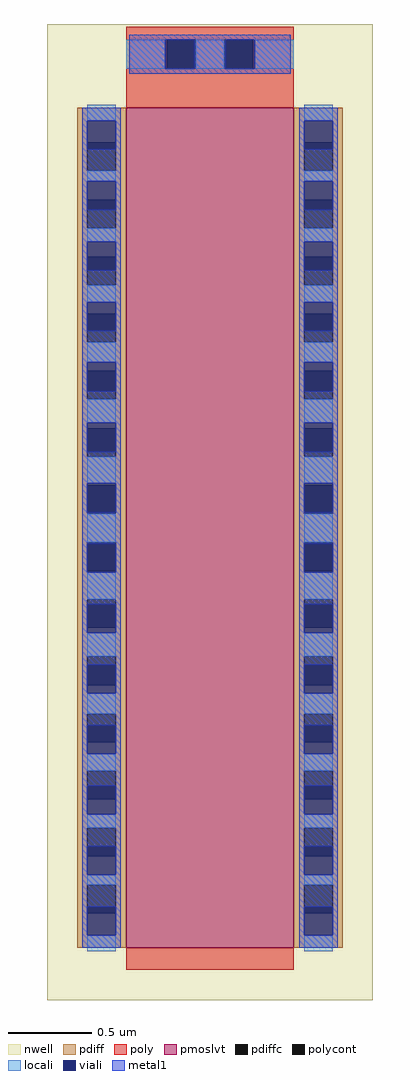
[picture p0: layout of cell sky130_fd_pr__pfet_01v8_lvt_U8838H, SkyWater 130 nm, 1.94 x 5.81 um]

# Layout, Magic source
magic
tech sky130A
magscale 1 2
<< nwell >>
rect -194 -598 194 564
<< pmoslvt >>
rect -100 -536 100 464
<< pdiff >>
rect -158 423 -100 464
rect -158 389 -146 423
rect -112 389 -100 423
rect -158 355 -100 389
rect -158 321 -146 355
rect -112 321 -100 355
rect -158 287 -100 321
rect -158 253 -146 287
rect -112 253 -100 287
rect -158 219 -100 253
rect -158 185 -146 219
rect -112 185 -100 219
rect -158 151 -100 185
rect -158 117 -146 151
rect -112 117 -100 151
rect -158 83 -100 117
rect -158 49 -146 83
rect -112 49 -100 83
rect -158 15 -100 49
rect -158 -19 -146 15
rect -112 -19 -100 15
rect -158 -53 -100 -19
rect -158 -87 -146 -53
rect -112 -87 -100 -53
rect -158 -121 -100 -87
rect -158 -155 -146 -121
rect -112 -155 -100 -121
rect -158 -189 -100 -155
rect -158 -223 -146 -189
rect -112 -223 -100 -189
rect -158 -257 -100 -223
rect -158 -291 -146 -257
rect -112 -291 -100 -257
rect -158 -325 -100 -291
rect -158 -359 -146 -325
rect -112 -359 -100 -325
rect -158 -393 -100 -359
rect -158 -427 -146 -393
rect -112 -427 -100 -393
rect -158 -461 -100 -427
rect -158 -495 -146 -461
rect -112 -495 -100 -461
rect -158 -536 -100 -495
rect 100 423 158 464
rect 100 389 112 423
rect 146 389 158 423
rect 100 355 158 389
rect 100 321 112 355
rect 146 321 158 355
rect 100 287 158 321
rect 100 253 112 287
rect 146 253 158 287
rect 100 219 158 253
rect 100 185 112 219
rect 146 185 158 219
rect 100 151 158 185
rect 100 117 112 151
rect 146 117 158 151
rect 100 83 158 117
rect 100 49 112 83
rect 146 49 158 83
rect 100 15 158 49
rect 100 -19 112 15
rect 146 -19 158 15
rect 100 -53 158 -19
rect 100 -87 112 -53
rect 146 -87 158 -53
rect 100 -121 158 -87
rect 100 -155 112 -121
rect 146 -155 158 -121
rect 100 -189 158 -155
rect 100 -223 112 -189
rect 146 -223 158 -189
rect 100 -257 158 -223
rect 100 -291 112 -257
rect 146 -291 158 -257
rect 100 -325 158 -291
rect 100 -359 112 -325
rect 146 -359 158 -325
rect 100 -393 158 -359
rect 100 -427 112 -393
rect 146 -427 158 -393
rect 100 -461 158 -427
rect 100 -495 112 -461
rect 146 -495 158 -461
rect 100 -536 158 -495
<< pdiffc >>
rect -146 389 -112 423
rect -146 321 -112 355
rect -146 253 -112 287
rect -146 185 -112 219
rect -146 117 -112 151
rect -146 49 -112 83
rect -146 -19 -112 15
rect -146 -87 -112 -53
rect -146 -155 -112 -121
rect -146 -223 -112 -189
rect -146 -291 -112 -257
rect -146 -359 -112 -325
rect -146 -427 -112 -393
rect -146 -495 -112 -461
rect 112 389 146 423
rect 112 321 146 355
rect 112 253 146 287
rect 112 185 146 219
rect 112 117 146 151
rect 112 49 146 83
rect 112 -19 146 15
rect 112 -87 146 -53
rect 112 -155 146 -121
rect 112 -223 146 -189
rect 112 -291 146 -257
rect 112 -359 146 -325
rect 112 -427 146 -393
rect 112 -495 146 -461
<< poly >>
rect -100 545 100 561
rect -100 511 -51 545
rect -17 511 17 545
rect 51 511 100 545
rect -100 464 100 511
rect -100 -562 100 -536
<< polycont >>
rect -51 511 -17 545
rect 17 511 51 545
<< locali >>
rect -100 511 -53 545
rect -17 511 17 545
rect 53 511 100 545
rect -146 449 -112 468
rect -146 377 -112 389
rect -146 305 -112 321
rect -146 233 -112 253
rect -146 161 -112 185
rect -146 89 -112 117
rect -146 17 -112 49
rect -146 -53 -112 -19
rect -146 -121 -112 -89
rect -146 -189 -112 -161
rect -146 -257 -112 -233
rect -146 -325 -112 -305
rect -146 -393 -112 -377
rect -146 -461 -112 -449
rect -146 -540 -112 -521
rect 112 449 146 468
rect 112 377 146 389
rect 112 305 146 321
rect 112 233 146 253
rect 112 161 146 185
rect 112 89 146 117
rect 112 17 146 49
rect 112 -53 146 -19
rect 112 -121 146 -89
rect 112 -189 146 -161
rect 112 -257 146 -233
rect 112 -325 146 -305
rect 112 -393 146 -377
rect 112 -461 146 -449
rect 112 -540 146 -521
<< viali >>
rect -53 511 -51 545
rect -51 511 -19 545
rect 19 511 51 545
rect 51 511 53 545
rect -146 423 -112 449
rect -146 415 -112 423
rect -146 355 -112 377
rect -146 343 -112 355
rect -146 287 -112 305
rect -146 271 -112 287
rect -146 219 -112 233
rect -146 199 -112 219
rect -146 151 -112 161
rect -146 127 -112 151
rect -146 83 -112 89
rect -146 55 -112 83
rect -146 15 -112 17
rect -146 -17 -112 15
rect -146 -87 -112 -55
rect -146 -89 -112 -87
rect -146 -155 -112 -127
rect -146 -161 -112 -155
rect -146 -223 -112 -199
rect -146 -233 -112 -223
rect -146 -291 -112 -271
rect -146 -305 -112 -291
rect -146 -359 -112 -343
rect -146 -377 -112 -359
rect -146 -427 -112 -415
rect -146 -449 -112 -427
rect -146 -495 -112 -487
rect -146 -521 -112 -495
rect 112 423 146 449
rect 112 415 146 423
rect 112 355 146 377
rect 112 343 146 355
rect 112 287 146 305
rect 112 271 146 287
rect 112 219 146 233
rect 112 199 146 219
rect 112 151 146 161
rect 112 127 146 151
rect 112 83 146 89
rect 112 55 146 83
rect 112 15 146 17
rect 112 -17 146 15
rect 112 -87 146 -55
rect 112 -89 146 -87
rect 112 -155 146 -127
rect 112 -161 146 -155
rect 112 -223 146 -199
rect 112 -233 146 -223
rect 112 -291 146 -271
rect 112 -305 146 -291
rect 112 -359 146 -343
rect 112 -377 146 -359
rect 112 -427 146 -415
rect 112 -449 146 -427
rect 112 -495 146 -487
rect 112 -521 146 -495
<< metal1 >>
rect -96 545 96 551
rect -96 511 -53 545
rect -19 511 19 545
rect 53 511 96 545
rect -96 505 96 511
rect -152 449 -106 464
rect -152 415 -146 449
rect -112 415 -106 449
rect -152 377 -106 415
rect -152 343 -146 377
rect -112 343 -106 377
rect -152 305 -106 343
rect -152 271 -146 305
rect -112 271 -106 305
rect -152 233 -106 271
rect -152 199 -146 233
rect -112 199 -106 233
rect -152 161 -106 199
rect -152 127 -146 161
rect -112 127 -106 161
rect -152 89 -106 127
rect -152 55 -146 89
rect -112 55 -106 89
rect -152 17 -106 55
rect -152 -17 -146 17
rect -112 -17 -106 17
rect -152 -55 -106 -17
rect -152 -89 -146 -55
rect -112 -89 -106 -55
rect -152 -127 -106 -89
rect -152 -161 -146 -127
rect -112 -161 -106 -127
rect -152 -199 -106 -161
rect -152 -233 -146 -199
rect -112 -233 -106 -199
rect -152 -271 -106 -233
rect -152 -305 -146 -271
rect -112 -305 -106 -271
rect -152 -343 -106 -305
rect -152 -377 -146 -343
rect -112 -377 -106 -343
rect -152 -415 -106 -377
rect -152 -449 -146 -415
rect -112 -449 -106 -415
rect -152 -487 -106 -449
rect -152 -521 -146 -487
rect -112 -521 -106 -487
rect -152 -536 -106 -521
rect 106 449 152 464
rect 106 415 112 449
rect 146 415 152 449
rect 106 377 152 415
rect 106 343 112 377
rect 146 343 152 377
rect 106 305 152 343
rect 106 271 112 305
rect 146 271 152 305
rect 106 233 152 271
rect 106 199 112 233
rect 146 199 152 233
rect 106 161 152 199
rect 106 127 112 161
rect 146 127 152 161
rect 106 89 152 127
rect 106 55 112 89
rect 146 55 152 89
rect 106 17 152 55
rect 106 -17 112 17
rect 146 -17 152 17
rect 106 -55 152 -17
rect 106 -89 112 -55
rect 146 -89 152 -55
rect 106 -127 152 -89
rect 106 -161 112 -127
rect 146 -161 152 -127
rect 106 -199 152 -161
rect 106 -233 112 -199
rect 146 -233 152 -199
rect 106 -271 152 -233
rect 106 -305 112 -271
rect 146 -305 152 -271
rect 106 -343 152 -305
rect 106 -377 112 -343
rect 146 -377 152 -343
rect 106 -415 152 -377
rect 106 -449 112 -415
rect 146 -449 152 -415
rect 106 -487 152 -449
rect 106 -521 112 -487
rect 146 -521 152 -487
rect 106 -536 152 -521
<< end >>
